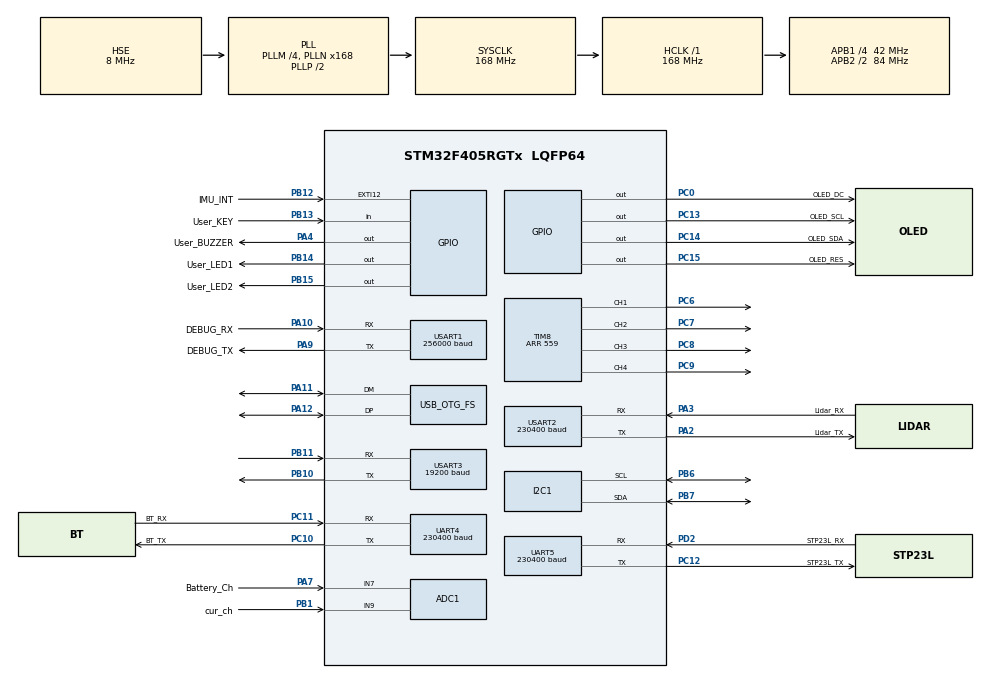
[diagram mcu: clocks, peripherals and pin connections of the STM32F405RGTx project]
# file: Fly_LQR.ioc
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ADC1.Channel-0\#ChannelRegularConversion=ADC_CHANNEL_7
ADC1.Channel-1\#ChannelRegularConversion=ADC_CHANNEL_9
ADC1.ClockPrescaler=ADC_CLOCK_SYNC_PCLK_DIV6
ADC1.ContinuousConvMode=ENABLE
ADC1.DMAContinuousRequests=ENABLE
ADC1.NbrOfConversion=2
ADC1.NbrOfConversionFlag=1
ADC1.Rank-0\#ChannelRegularConversion=1
ADC1.Rank-1\#ChannelRegularConversion=2
ADC1.SamplingTime-0\#ChannelRegularConversion=ADC_SAMPLETIME_480CYCLES
ADC1.SamplingTime-1\#ChannelRegularConversion=ADC_SAMPLETIME_480CYCLES
ADC1.ScanConvMode=ENABLE
ADC1.master=1
Dma.ADC1.5.Direction=DMA_PERIPH_TO_MEMORY
Dma.ADC1.5.FIFOMode=DMA_FIFOMODE_DISABLE
Dma.ADC1.5.Instance=DMA2_Stream0
Dma.ADC1.5.MemDataAlignment=DMA_MDATAALIGN_HALFWORD
Dma.ADC1.5.MemInc=DMA_MINC_ENABLE
Dma.ADC1.5.Mode=DMA_CIRCULAR
Dma.ADC1.5.PeriphDataAlignment=DMA_PDATAALIGN_HALFWORD
Dma.ADC1.5.PeriphInc=DMA_PINC_DISABLE
Dma.ADC1.5.Priority=DMA_PRIORITY_LOW
Dma.Request0=USART2_RX
Dma.Request1=TIM8_CH1
Dma.Request2=TIM8_CH2
Dma.Request3=TIM8_CH3
Dma.Request4=TIM8_CH4/TRIG/COM
Dma.Request5=ADC1
Dma.Request6=UART5_RX
Dma.Request7=UART4_TX
Dma.Request8=USART3_RX
Dma.TIM8_CH1.1.Direction=DMA_MEMORY_TO_PERIPH
Dma.TIM8_CH1.1.FIFOMode=DMA_FIFOMODE_DISABLE
Dma.TIM8_CH1.1.Instance=DMA2_Stream2
Dma.TIM8_CH1.1.MemDataAlignment=DMA_MDATAALIGN_HALFWORD
Dma.TIM8_CH1.1.MemInc=DMA_MINC_ENABLE
Dma.TIM8_CH1.1.Mode=DMA_NORMAL
Dma.TIM8_CH1.1.PeriphDataAlignment=DMA_PDATAALIGN_HALFWORD
Dma.TIM8_CH1.1.PeriphInc=DMA_PINC_DISABLE
Dma.TIM8_CH1.1.Priority=DMA_PRIORITY_LOW
Dma.TIM8_CH2.2.Direction=DMA_MEMORY_TO_PERIPH
Dma.TIM8_CH2.2.FIFOMode=DMA_FIFOMODE_DISABLE
Dma.TIM8_CH2.2.Instance=DMA2_Stream3
Dma.TIM8_CH2.2.MemDataAlignment=DMA_MDATAALIGN_HALFWORD
Dma.TIM8_CH2.2.MemInc=DMA_MINC_ENABLE
Dma.TIM8_CH2.2.Mode=DMA_NORMAL
Dma.TIM8_CH2.2.PeriphDataAlignment=DMA_PDATAALIGN_HALFWORD
Dma.TIM8_CH2.2.PeriphInc=DMA_PINC_DISABLE
Dma.TIM8_CH2.2.Priority=DMA_PRIORITY_LOW
Dma.TIM8_CH3.3.Direction=DMA_MEMORY_TO_PERIPH
Dma.TIM8_CH3.3.FIFOMode=DMA_FIFOMODE_DISABLE
Dma.TIM8_CH3.3.Instance=DMA2_Stream4
Dma.TIM8_CH3.3.MemDataAlignment=DMA_MDATAALIGN_HALFWORD
Dma.TIM8_CH3.3.MemInc=DMA_MINC_ENABLE
Dma.TIM8_CH3.3.Mode=DMA_NORMAL
Dma.TIM8_CH3.3.PeriphDataAlignment=DMA_PDATAALIGN_HALFWORD
Dma.TIM8_CH3.3.PeriphInc=DMA_PINC_DISABLE
Dma.TIM8_CH3.3.Priority=DMA_PRIORITY_LOW
Dma.TIM8_CH4/TRIG/COM.4.Direction=DMA_MEMORY_TO_PERIPH
Dma.TIM8_CH4/TRIG/COM.4.FIFOMode=DMA_FIFOMODE_DISABLE
Dma.TIM8_CH4/TRIG/COM.4.Instance=DMA2_Stream7
Dma.TIM8_CH4/TRIG/COM.4.MemDataAlignment=DMA_MDATAALIGN_HALFWORD
Dma.TIM8_CH4/TRIG/COM.4.MemInc=DMA_MINC_ENABLE
Dma.TIM8_CH4/TRIG/COM.4.Mode=DMA_NORMAL
Dma.TIM8_CH4/TRIG/COM.4.PeriphDataAlignment=DMA_PDATAALIGN_HALFWORD
Dma.TIM8_CH4/TRIG/COM.4.PeriphInc=DMA_PINC_DISABLE
Dma.TIM8_CH4/TRIG/COM.4.Priority=DMA_PRIORITY_LOW
Dma.UART4_TX.7.Direction=DMA_MEMORY_TO_PERIPH
Dma.UART4_TX.7.FIFOMode=DMA_FIFOMODE_DISABLE
Dma.UART4_TX.7.Instance=DMA1_Stream4
Dma.UART4_TX.7.MemDataAlignment=DMA_MDATAALIGN_BYTE
Dma.UART4_TX.7.MemInc=DMA_MINC_ENABLE
Dma.UART4_TX.7.Mode=DMA_NORMAL
Dma.UART4_TX.7.PeriphDataAlignment=DMA_PDATAALIGN_BYTE
Dma.UART4_TX.7.PeriphInc=DMA_PINC_DISABLE
Dma.UART4_TX.7.Priority=DMA_PRIORITY_LOW
Dma.UART5_RX.6.Direction=DMA_PERIPH_TO_MEMORY
Dma.UART5_RX.6.FIFOMode=DMA_FIFOMODE_DISABLE
Dma.UART5_RX.6.Instance=DMA1_Stream0
Dma.UART5_RX.6.MemDataAlignment=DMA_MDATAALIGN_BYTE
Dma.UART5_RX.6.MemInc=DMA_MINC_ENABLE
Dma.UART5_RX.6.Mode=DMA_NORMAL
Dma.UART5_RX.6.PeriphDataAlignment=DMA_PDATAALIGN_BYTE
Dma.UART5_RX.6.PeriphInc=DMA_PINC_DISABLE
Dma.UART5_RX.6.Priority=DMA_PRIORITY_LOW
Dma.USART2_RX.0.Direction=DMA_PERIPH_TO_MEMORY
Dma.USART2_RX.0.FIFOMode=DMA_FIFOMODE_DISABLE
Dma.USART2_RX.0.Instance=DMA1_Stream5
Dma.USART2_RX.0.MemDataAlignment=DMA_MDATAALIGN_BYTE
Dma.USART2_RX.0.MemInc=DMA_MINC_ENABLE
Dma.USART2_RX.0.Mode=DMA_NORMAL
Dma.USART2_RX.0.PeriphDataAlignment=DMA_PDATAALIGN_BYTE
Dma.USART2_RX.0.PeriphInc=DMA_PINC_DISABLE
Dma.USART2_RX.0.Priority=DMA_PRIORITY_HIGH
Dma.USART3_RX.8.Direction=DMA_PERIPH_TO_MEMORY
Dma.USART3_RX.8.FIFOMode=DMA_FIFOMODE_DISABLE
Dma.USART3_RX.8.Instance=DMA1_Stream1
Dma.USART3_RX.8.MemDataAlignment=DMA_MDATAALIGN_BYTE
Dma.USART3_RX.8.MemInc=DMA_MINC_ENABLE
Dma.USART3_RX.8.Mode=DMA_NORMAL
Dma.USART3_RX.8.PeriphDataAlignment=DMA_PDATAALIGN_BYTE
Dma.USART3_RX.8.PeriphInc=DMA_PINC_DISABLE
Dma.USART3_RX.8.Priority=DMA_PRIORITY_LOW
FREERTOS.Tasks01=defaultTask,24,128,StartDefaultTask,Default,NULL,Dynamic,NULL,NULL
FREERTOS.configCHECK_FOR_STACK_OVERFLOW=2
FREERTOS.configENABLE_FPU=1
FREERTOS.configGENERATE_RUN_TIME_STATS=1
FREERTOS.configLIBRARY_MAX_SYSCALL_INTERRUPT_PRIORITY=5
FREERTOS.configMINIMAL_STACK_SIZE=128
FREERTOS.configTIMER_TASK_PRIORITY=25
FREERTOS.configTIMER_TASK_STACK_DEPTH=256
FREERTOS.configTOTAL_HEAP_SIZE=25600
FREERTOS.configUSE_IDLE_HOOK=1
FREERTOS.configUSE_MALLOC_FAILED_HOOK=1
FREERTOS.configUSE_STATS_FORMATTING_FUNCTIONS=1
I2C1.I2C_Mode=I2C_Fast
Mcu.Family=STM32F4
Mcu.Name=STM32F405RGTx
Mcu.Package=LQFP64
NVIC.DMA1_Stream0_IRQn=true\:5\:0\:false\:false\:true\:true\:false\:true\:true
NVIC.DMA1_Stream1_IRQn=true\:5\:0\:false\:false\:true\:true\:false\:true\:true
NVIC.DMA1_Stream4_IRQn=true\:5\:0\:false\:false\:true\:true\:false\:true\:true
NVIC.DMA1_Stream5_IRQn=true\:5\:0\:false\:false\:true\:true\:false\:true\:true
NVIC.DMA2_Stream0_IRQn=true\:5\:0\:false\:false\:true\:true\:false\:true\:true
NVIC.DMA2_Stream2_IRQn=true\:5\:0\:false\:false\:true\:true\:false\:true\:true
NVIC.DMA2_Stream3_IRQn=true\:5\:0\:false\:false\:true\:true\:false\:true\:true
NVIC.DMA2_Stream4_IRQn=true\:5\:0\:false\:false\:true\:true\:false\:true\:true
NVIC.DMA2_Stream7_IRQn=true\:5\:0\:false\:false\:true\:true\:false\:true\:true
NVIC.EXTI15_10_IRQn=true\:5\:0\:true\:false\:true\:false\:true\:true\:true
NVIC.OTG_FS_IRQn=true\:5\:0\:false\:false\:true\:true\:true\:true\:true
NVIC.PriorityGroup=NVIC_PRIORITYGROUP_4
NVIC.TIM7_IRQn=true\:0\:0\:true\:false\:true\:false\:false\:true\:true
NVIC.TIM8_UP_TIM13_IRQn=true\:5\:0\:false\:false\:true\:true\:true\:true\:true
NVIC.TimeBase=TIM7_IRQn
NVIC.TimeBaseIP=TIM7
NVIC.UART4_IRQn=true\:5\:0\:false\:false\:true\:true\:true\:true\:true
NVIC.UART5_IRQn=true\:5\:0\:false\:false\:true\:true\:true\:true\:true
NVIC.USART1_IRQn=true\:5\:0\:true\:false\:true\:true\:false\:true\:true
NVIC.USART2_IRQn=true\:8\:0\:true\:false\:true\:true\:true\:true\:true
NVIC.USART3_IRQn=true\:5\:0\:false\:false\:true\:true\:true\:true\:true
PA10.GPIO_Label=DEBUG_RX
PA10.Mode=Asynchronous
PA10.Signal=USART1_RX
PA11.Mode=Host_Only
PA11.Signal=USB_OTG_FS_DM
PA12.Mode=Host_Only
PA12.Signal=USB_OTG_FS_DP
PA13.Mode=Serial_Wire
PA13.Signal=SYS_JTMS-SWDIO
PA14.Mode=Serial_Wire
PA14.Signal=SYS_JTCK-SWCLK
PA2.GPIO_Label=Lidar_TX
PA2.Mode=Asynchronous
PA2.Signal=USART2_TX
PA3.GPIO_Label=Lidar_RX
PA3.Mode=Asynchronous
PA3.Signal=USART2_RX
PA4.GPIO_Label=User_BUZZER
PA4.GPIO_PuPd=GPIO_PULLDOWN
PA4.Signal=GPIO_Output
PA7.GPIO_Label=Battery_Ch
PA7.Signal=ADCx_IN7
PA9.GPIO_Label=DEBUG_TX
PA9.Mode=Asynchronous
PA9.Signal=USART1_TX
PB1.GPIO_Label=cur_ch
PB1.Signal=ADCx_IN9
PB10.Mode=Asynchronous
PB10.Signal=USART3_TX
PB11.Mode=Asynchronous
PB11.Signal=USART3_RX
PB12.GPIO_Label=IMU_INT
PB12.GPIO_ModeDefaultEXTI=GPIO_MODE_IT_RISING
PB12.GPIO_PuPd=GPIO_PULLDOWN
PB12.Signal=GPXTI12
PB13.GPIO_Label=User_KEY
PB13.Signal=GPIO_Input
PB14.GPIO_Label=User_LED1
PB14.GPIO_ModeDefaultOutputPP=GPIO_MODE_OUTPUT_PP
PB14.GPIO_PuPd=GPIO_PULLUP
PB14.PinState=GPIO_PIN_SET
PB14.Signal=GPIO_Output
PB15.GPIO_Label=User_LED2
PB15.GPIO_PuPd=GPIO_PULLUP
PB15.PinState=GPIO_PIN_SET
PB15.Signal=GPIO_Output
PB6.Mode=I2C
PB6.Signal=I2C1_SCL
PB7.Mode=I2C
PB7.Signal=I2C1_SDA
PC0.GPIO_Label=OLED_DC
PC0.Signal=GPIO_Output
PC10.GPIO_Label=BT_TX
PC10.Mode=Asynchronous
PC10.Signal=UART4_TX
PC11.GPIO_Label=BT_RX
PC11.Mode=Asynchronous
PC11.Signal=UART4_RX
PC12.GPIO_Label=STP23L_TX
PC12.Mode=Asynchronous
PC12.Signal=UART5_TX
PC13-ANTI_TAMP.GPIO_Label=OLED_SCL
PC13-ANTI_TAMP.Signal=GPIO_Output
PC14-OSC32_IN.GPIO_Label=OLED_SDA
PC14-OSC32_IN.Signal=GPIO_Output
PC15-OSC32_OUT.GPIO_Label=OLED_RES
PC15-OSC32_OUT.Signal=GPIO_Output
PC6.GPIO_Speed=GPIO_SPEED_FREQ_VERY_HIGH
PC6.Signal=S_TIM8_CH1
PC7.GPIO_Speed=GPIO_SPEED_FREQ_VERY_HIGH
PC7.Signal=S_TIM8_CH2
PC8.GPIO_Speed=GPIO_SPEED_FREQ_VERY_HIGH
PC8.Signal=S_TIM8_CH3
PC9.GPIO_Speed=GPIO_SPEED_FREQ_VERY_HIGH
PC9.Signal=S_TIM8_CH4
PD2.GPIO_Label=STP23L_RX
PD2.Mode=Asynchronous
PD2.Signal=UART5_RX
PH0-OSC_IN.Mode=HSE-External-Oscillator
PH0-OSC_IN.Signal=RCC_OSC_IN
PH1-OSC_OUT.Mode=HSE-External-Oscillator
PH1-OSC_OUT.Signal=RCC_OSC_OUT
ProjectManager.HeapSize=0x200
ProjectManager.StackSize=0x400
ProjectManager.TargetToolchain=MDK-ARM V5.32
RCC.48MHZClocksFreq_Value=48000000
RCC.AHBFreq_Value=168000000
RCC.APB1CLKDivider=RCC_HCLK_DIV4
RCC.APB1Freq_Value=42000000
RCC.APB1TimFreq_Value=84000000
RCC.APB2CLKDivider=RCC_HCLK_DIV2
RCC.APB2Freq_Value=84000000
RCC.APB2TimFreq_Value=168000000
RCC.CortexFreq_Value=168000000
RCC.HCLKFreq_Value=168000000
RCC.HSE_VALUE=8000000
RCC.HSI_VALUE=16000000
RCC.LSE_VALUE=32768
RCC.PLLM=4
RCC.PLLN=168
RCC.PLLQ=7
RCC.SYSCLKFreq_VALUE=168000000
RCC.SYSCLKSource=RCC_SYSCLKSOURCE_PLLCLK
RCC.VCOOutputFreq_Value=336000000
SH.ADCx_IN7.0=ADC1_IN7,IN7
SH.ADCx_IN9.0=ADC1_IN9,IN9
SH.S_TIM8_CH1.0=TIM8_CH1,PWM Generation1 CH1
SH.S_TIM8_CH2.0=TIM8_CH2,PWM Generation2 CH2
SH.S_TIM8_CH3.0=TIM8_CH3,PWM Generation3 CH3
SH.S_TIM8_CH4.0=TIM8_CH4,PWM Generation4 CH4
TIM6.Period=0xffff
TIM6.Prescaler=839
TIM8.Channel-PWM\ Generation1\ CH1=TIM_CHANNEL_1
TIM8.Channel-PWM\ Generation2\ CH2=TIM_CHANNEL_2
TIM8.Channel-PWM\ Generation3\ CH3=TIM_CHANNEL_3
TIM8.Channel-PWM\ Generation4\ CH4=TIM_CHANNEL_4
TIM8.Period=559
UART4.BaudRate=230400
UART4.VirtualMode=Asynchronous
UART5.BaudRate=230400
UART5.VirtualMode=Asynchronous
USART1.BaudRate=256000
USART1.VirtualMode=VM_ASYNC
USART2.BaudRate=230400
USART2.VirtualMode=VM_ASYNC
USART3.BaudRate=19200
USART3.VirtualMode=VM_ASYNC
USB_HOST.SW_VBUS_DRIVE_HID_FS=true
USB_HOST.USBH_HandleTypeDef-HID_FS=hUsbHostFS
USB_HOST.USBH_MAX_DATA_BUFFER-HID_FS=1024
USB_HOST.USBH_MAX_NUM_SUPPORTED_CLASS-HID_FS=2
USB_HOST.USBH_PROCESS_STACK_SIZE-HID_FS=1024
USB_HOST.VirtualModeFS=Hid
USB_OTG_FS.VirtualMode=Host_Only
USB_OTG_FS.phy_itface=HCD_PHY_EMBEDDED
VP_FREERTOS_VS_CMSIS_V2.Mode=CMSIS_V2
VP_SYS_VS_tim7.Mode=TIM7
VP_TIM6_VS_ClockSourceINT.Mode=Enable_Timer
VP_TIM8_VS_ClockSourceINT.Mode=Internal
VP_USB_HOST_VS_USB_HOST_HID_FS.Mode=HID_FS
board=custom

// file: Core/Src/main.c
/* USER CODE BEGIN Header */
/**
  ******************************************************************************
  * @file           : main.c
  * @brief          : Main program body
  ******************************************************************************
  * @attention
  *
  * Copyright (c) 2024 STMicroelectronics.
  * All rights reserved.
  *
  * This software is licensed under terms that can be found in the LICENSE file
  * in the root directory of this software component.
  * If no LICENSE file comes with this software, it is provided AS-IS.
  *
  ******************************************************************************
  */
/* USER CODE END Header */
#include "main.h"
#include "cmsis_os.h"
#include "adc.h"
#include "dma.h"
#include "i2c.h"
#include "tim.h"
#include "usart.h"
#include "usb_host.h"
#include "gpio.h"

/* USER CODE BEGIN Includes */
/* C 标准库 ------------------------------------------------------------------*/
#include <stdio.h>              /* 标准输入输出，提供 printf/scanf 重定向支持 */

/* FreeRTOS ------------------------------------------------------------------*/
#include "FreeRTOS.h"           /* FreeRTOS 内核接口 */
#include "semphr.h"             /* 信号量/互斥锁接口 */

/* HAL 库 --------------------------------------------------------------------*/
/* （HAL 外设头文件已在 main.h 中通过 stm32f4xx_hal.h 统一引入） */

/* BSP 板级支持包 -------------------------------------------------------------*/
#include "bsp_led.h"            /* LED 指示灯驱动 */
#include "bsp_oled.h"           /* OLED 显示屏驱动 */
#include "bsp_adc.h"            /* ADC 采样驱动（电池电压/电流检测） */
#include "bsp_imu.h"            /* IMU 惯性测量单元驱动（ICM20948） */
#include "bsp_LC307.h"          /* LC307 激光测距模块驱动 */
/* USER CODE END Includes */

/* USER CODE BEGIN PV */
/* 串口中断接收缓存 -----------------------------------------------------------*/
uint8_t uart1_recv;             /* USART1 单字节中断接收缓存（蓝牙模块） */
uint8_t uart4_recv;             /* UART4  单字节中断接收缓存（调试串口） */

/* 用户校准参数 ---------------------------------------------------------------*/
float g_userparam_pitchzero = 0; /* 用户设定的俯仰角零点偏移（从 Flash 读取） */
float g_userparam_rollzero  = 0; /* 用户设定的横滚角零点偏移（从 Flash 读取） */

/* 调试数据显示结构体 ---------------------------------------------------------*/
DebugShowVal_t g_debugVal = { 0 }; /* 调试用全局变量，可通过串口/OLED 查看各传感器数据 */
/* USER CODE END PV */

void SystemClock_Config(void);
void MX_FREERTOS_Init(void);

int main(void)
{

  /* MCU Configuration--------------------------------------------------------*/

  /* Reset of all peripherals, Initializes the Flash interface and the Systick. */
  HAL_Init();

  /* Configure the system clock */
  SystemClock_Config();

  /* Initialize all configured peripherals */
  MX_GPIO_Init();
  MX_DMA_Init();
  MX_USART1_UART_Init();
  MX_USART2_UART_Init();
  MX_TIM6_Init();
  MX_TIM8_Init();
  MX_I2C1_Init();
  MX_ADC1_Init();
  MX_UART5_Init();
  MX_UART4_Init();
  MX_USART3_UART_Init();
  /* USER CODE BEGIN 2 */

	/* OLED 显示屏初始化 ----------------------------------------------------*/
	/* 使用 I2C1 接口驱动 OLED 显示模块 */
	pOLEDInterface_t oled = &UserOLED;
	oled->init();

	/* 启动串口中断接收 ------------------------------------------------------*/
	/* UART4: 调试串口（printf 重定向），UART1: 蓝牙模块，均使能单字节中断接收 */
	HAL_UART_Receive_IT(&huart4, &uart4_recv, 1);
	HAL_UART_Receive_IT(&huart1, &uart1_recv, 1);

	/* 启动用户基础定时器 ----------------------------------------------------*/
	/* TIM6 用作系统时基或周期任务调度时钟源 */
	HAL_TIM_Base_Start(&htim6);

	/* ADC 初始化 ------------------------------------------------------------*/
	/* ADC1 用于采集电池电压 (Battery_Ch) 和电流检测通道 (cur_ch) */
	pADCInterface_t adc1 = &UserADC1;
	adc1->init();

	/* 硬件 I2C 总线忙异常恢复处理 -------------------------------------------*/
	/* 上电或异常复位后，I2C 从设备可能将 SDA 拉低导致 BUSY 标志置位 */
	/* 此处检测并强制释放 I2C 总线，然后重新初始化外设 */
	if ((I2C1->SR2 >> 1) & 0x01)       /* 检查 I2C1 SR2 寄存器的 BUSY 标志位 */
	{
		HAL_I2C_MspDeInit(&hi2c1);      /* 反初始化 I2C MSP（释放引脚复用回 GPIO） */

		/* 将 I2C 引脚 (PB6=SCL, PB7=SDA) 配置为 GPIO 推挽输出，模拟时钟释放总线 */
		GPIO_InitTypeDef GPIO_InitStruct = {0};
		GPIO_InitStruct.Pin   = GPIO_PIN_6 | GPIO_PIN_7;
		GPIO_InitStruct.Mode  = GPIO_MODE_OUTPUT_PP;
		GPIO_InitStruct.Pull  = GPIO_PULLUP;
		GPIO_InitStruct.Speed = GPIO_SPEED_FREQ_LOW;
		HAL_GPIO_Init(GPIOB, &GPIO_InitStruct);
		HAL_GPIO_WritePin(GPIOB, GPIO_PIN_6, GPIO_PIN_SET); /* SCL 拉高 */
		HAL_GPIO_WritePin(GPIOB, GPIO_PIN_7, GPIO_PIN_SET); /* SDA 拉高 */

		/* 重新初始化 I2C1 外设，清除 BUSY 状态 */
		I2C1->CR1 &= ~(1 << 0);         /* PE=0: 关闭 I2C 使能 */
		HAL_Delay(50);                  /* 等待总线稳定 */
		I2C1->CR1 |= (1 << 0);          /* PE=1: 重新使能 I2C */
		I2C1->CR1 |= (1 << 15);         /* SWRST=1: 软件复位 I2C */
		HAL_Delay(50);
		I2C1->CR1 &= ~(1 << 15);        /* 清除复位位 */
		MX_I2C1_Init();                 /* 重新调用 CubeMX 生成的 I2C 初始化函数 */
	}

	/* ICM20948 IMU 初始化与状态指示 -----------------------------------------*/
	/* 使用 User_LED1 指示 IMU 初始化状态：闪烁=正在初始化，常亮=初始化成功 */
	pLedInterface_t  imu_initled = &UserLed1;
	pIMUInterface_t  imu         = &UserICM20948;

	imu_initled->off();
	while (imu->Init())                   /* 循环初始化 IMU 直到成功 */
	{
		imu_initled->toggle();            /* LED 闪烁表示初始化过程持续中 */
		HAL_Delay(60);
		NVIC_SystemReset();               /* 初始化超时则执行系统复位重试 */
	}
	imu_initled->on();                    /* LED 常亮指示 IMU 初始化成功完成 */

	/* 激光测距模块初始化 ----------------------------------------------------*/
	/* LC307 / STP23L 激光测距模块，用于对地高度测量 */
	Opf_LC307_Init();

	/* 从 Flash 读取用户校准参数 ---------------------------------------------*/
	/* 读取存储的俯仰角和横滚角零点偏移值（出厂校准或用户设定值） */
	extern void User_Flash_ReadParam(uint32_t* p, uint16_t datalen);
	int32_t tmp[2] = { 0 };
	User_Flash_ReadParam((uint32_t*)tmp, 2);
	if (tmp[0] != 0xffffffff)             /* 0xFFFFFFFF 表示 Flash 该地址未被写入过（擦除态） */
		g_userparam_pitchzero = *((float*)&tmp[0]);
	if (tmp[1] != 0xffffffff)
		g_userparam_rollzero  = *((float*)&tmp[1]);

  /* USER CODE END 2 */

  /* Init scheduler */
  osKernelInitialize();

  /* Call init function for freertos objects (in cmsis_os2.c) */
  MX_FREERTOS_Init();

  /* Start scheduler */
  osKernelStart();

  /* We should never get here as control is now taken by the scheduler */

  /* Infinite loop */
  while (1)
  {

    /* USER CODE BEGIN 3 */
    /* FreeRTOS 任务调度运行中，此循环体由 osKernelStart() 内部的调度器控制 */
    /* 用户任务代码在各 APP 任务文件中实现（balance_task, lidar_task 等） */
  }
  /* USER CODE END 3 */
}

void SystemClock_Config(void)
{
  RCC_OscInitTypeDef RCC_OscInitStruct = {0};
  RCC_ClkInitTypeDef RCC_ClkInitStruct = {0};

  /** Configure the main internal regulator output voltage
  */
  __HAL_RCC_PWR_CLK_ENABLE();
  __HAL_PWR_VOLTAGESCALING_CONFIG(PWR_REGULATOR_VOLTAGE_SCALE1);

  /** Initializes the RCC Oscillators according to the specified parameters
  * in the RCC_OscInitTypeDef structure.
  */
  RCC_OscInitStruct.OscillatorType = RCC_OSCILLATORTYPE_HSE;
  RCC_OscInitStruct.HSEState = RCC_HSE_ON;
  RCC_OscInitStruct.PLL.PLLState = RCC_PLL_ON;
  RCC_OscInitStruct.PLL.PLLSource = RCC_PLLSOURCE_HSE;
  RCC_OscInitStruct.PLL.PLLM = 4;
  RCC_OscInitStruct.PLL.PLLN = 168;
  RCC_OscInitStruct.PLL.PLLP = RCC_PLLP_DIV2;
  RCC_OscInitStruct.PLL.PLLQ = 7;
  if (HAL_RCC_OscConfig(&RCC_OscInitStruct) != HAL_OK)
  {
    Error_Handler();
  }

  /** Initializes the CPU, AHB and APB buses clocks
  */
  RCC_ClkInitStruct.ClockType = RCC_CLOCKTYPE_HCLK|RCC_CLOCKTYPE_SYSCLK
                              |RCC_CLOCKTYPE_PCLK1|RCC_CLOCKTYPE_PCLK2;
  RCC_ClkInitStruct.SYSCLKSource = RCC_SYSCLKSOURCE_PLLCLK;
  RCC_ClkInitStruct.AHBCLKDivider = RCC_SYSCLK_DIV1;
  RCC_ClkInitStruct.APB1CLKDivider = RCC_HCLK_DIV4;
  RCC_ClkInitStruct.APB2CLKDivider = RCC_HCLK_DIV2;

  if (HAL_RCC_ClockConfig(&RCC_ClkInitStruct, FLASH_LATENCY_5) != HAL_OK)
  {
    Error_Handler();
  }
}

/* USER CODE BEGIN 4 */

/* 调试串口句柄 ---------------------------------------------------------------*/
/* 将 huart4 重命名为 DebugSerial，用于 printf/scanf 重定向 */
UART_HandleTypeDef *DebugSerial = &huart4;

/**
  * @brief  printf 重定向底层函数：将字符通过串口发送
  * @param  ch:     要发送的字符
  * @param  stream: 文件流指针（未使用）
  * @retval 发送的字符
  * @note   重写 C 库的 fputc 实现 printf 串口输出
  */
int fputc(int ch, FILE* stream)
{
	while (HAL_OK != HAL_UART_Transmit(DebugSerial, (const uint8_t *)&ch, 1, 100));
	return ch;
}

/* scanf 重定向所需的互斥锁和状态变量 -----------------------------------------*/
static xSemaphoreHandle debug_1_HandleMutex;  /* 保护 scanf 回退缓冲区的互斥锁 */
static char g_last_char;                       /* 上次接收的字符（用于 backspace 回退） */
static char g_backspace;                       /* backspace 回退标志（非零表示下次读取返回缓存字符） */

/**
  * @brief  scanf 重定向底层函数：从串口接收字符
  * @param  f: 文件流指针（未使用）
  * @retval 接收到的字符
  * @note   重写 C 库的 fgetc 实现 scanf 串口输入，支持 backspace 功能
  */
int fgetc(FILE* f)
{
	/* 首次调用时创建互斥锁（延迟初始化） */
	static uint8_t init = 0;
	if (init == 0)
	{
		init = 1;
		debug_1_HandleMutex = xSemaphoreCreateMutex();
	}

	int ch;
	if (g_backspace)
	{
		/* 处理 backspace：返回上次缓存的字符而不是从串口读取 */
		xSemaphoreTake(debug_1_HandleMutex, portMAX_DELAY);
		g_backspace = 0;
		xSemaphoreGive(debug_1_HandleMutex);

		return g_last_char;
	}

	/* 阻塞等待串口接收一个字符 */
	while (HAL_OK != HAL_UART_Receive(DebugSerial, (uint8_t *)&ch, 1, HAL_MAX_DELAY));
	g_last_char = ch;
	return ch;
}

/**
  * @brief  scanf backspace 支持函数：将上次读取的字符回退到输入流
  * @param  stream: 文件流指针（未使用）
  * @retval 0
  * @note   配合 fgetc 实现 scanf 的退格编辑功能
  */
int __backspace(FILE *stream)
{
	xSemaphoreTake(debug_1_HandleMutex, portMAX_DELAY);
	g_backspace = 1;
	xSemaphoreGive(debug_1_HandleMutex);
	return 0;
}

/**
  * @brief  TIM8 定时器更新中断回调函数（弱定义）
  * @note   用户可重写此函数实现 TIM8 周期中断自定义处理
  *         当前由 HAL_TIM_PeriodElapsedCallback 中调用
  */
__weak void User_TIM8_UpdateCallback(void)
{
	/* 用户在此添加 TIM8 中断处理代码 */
}

/* USER CODE END 4 */

void HAL_TIM_PeriodElapsedCallback(TIM_HandleTypeDef *htim)
{
  if (htim->Instance == TIM7) {
    HAL_IncTick();
  }
  /* USER CODE BEGIN Callback 1 */
	else if (TIM8 == htim->Instance)
	{
		/* TIM8 周期中断：调用用户自定义回调 */
		User_TIM8_UpdateCallback();
	}

  /* USER CODE END Callback 1 */
}

void Error_Handler(void)
{
  __disable_irq();
  while (1)
  {
  }
}

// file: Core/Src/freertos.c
/* USER CODE BEGIN Header */
/**
  ******************************************************************************
  * File Name          : freertos.c
  * Description        : Code for freertos applications
  ******************************************************************************
  * @attention
  *
  * Copyright (c) 2024 STMicroelectronics.
  * All rights reserved.
  *
  * This software is licensed under terms that can be found in the LICENSE file
  * in the root directory of this software component.
  * If no LICENSE file comes with this software, it is provided AS-IS.
  *
  ******************************************************************************
  */
/* USER CODE END Header */

#include "FreeRTOS.h"
#include "task.h"
#include "main.h"
#include "cmsis_os.h"

/* USER CODE BEGIN Includes */

//C Lib
#include <stdio.h>

#include "queue.h"
#include "semphr.h"
#include "event_groups.h"

//HAL
#include "usart.h"

//BSP
#include "bsp_stp23L.h"
//#include "bsp_N10.h"
#include "bsp_stl06n.h"

//APP
#include "balance_task.h"

/* USER CODE END Includes */

/* USER CODE BEGIN PD */
#define userconfig_OPEN_STACK_CHECK 0     //开启任务栈大小检查打印
#define userconfig_OPEN_CPU_USAGE_CHECK 0 //开启检查CPU占比打印
#define userconfig_OPEN_CHECK_HEAPSIZE 0  //检查剩余的堆大小
/* USER CODE END PD */

/* USER CODE BEGIN Variables */
xSemaphoreHandle HandleMutex_printf;

//任务句柄
TaskHandle_t sensorhandleTask_Handle;
TaskHandle_t balanceTask_Handle;
TaskHandle_t g_xTaskHandleCoordTask;

//队列、队列集
QueueHandle_t g_xQueuestp23L_Ori;     //外围设备：stp23L激光测距 原始数据的队列
QueueHandle_t g_xQueueN10_Ori;        //外围设备：N10雷达        原始数据的队列
QueueHandle_t g_xQueuestl06n_Ori;

QueueSetHandle_t g_xQueueSetSensor;   //创建队列集，存放各个传感器队列的句柄
QueueHandle_t g_xQueueFlyControl;     //四轴飞行器控制队列
QueueHandle_t g_xQueueBlueTooth_Ori;  //蓝牙APP原始数据
QueueHandle_t g_xQueueLidarBuffer;    //雷达数据

//事件组
EventGroupHandle_t g_xEventFlyAction; //四轴动作事件组

/* USER CODE END Variables */
/* Definitions for defaultTask */
osThreadId_t defaultTaskHandle;
const osThreadAttr_t defaultTask_attributes = {
  .name = "defaultTask",
  .stack_size = 128 * 4,
  .priority = (osPriority_t) osPriorityNormal,
};

/* USER CODE BEGIN FunctionPrototypes */

//RTOS系统检测任务
#if ( 1 == userconfig_OPEN_CPU_USAGE_CHECK ) || ( 1 == userconfig_OPEN_STACK_CHECK ) || ( 1 == userconfig_OPEN_CHECK_HEAPSIZE )
void CpuUsageCheckTask(void *param);
#endif

//显示任务
__weak void ShowTask(void* param)
{
	for(;;) vTaskDelay(1);
}

//外围传感器数据处理任务
__weak void SensorHandleTask(void* param)
{
	for(;;) vTaskDelay(1);
}

//平衡主控制任务
__weak void balance_task(void* param)
{
	for(;;) vTaskDelay(1);
}

//蓝牙APP控制任务
__weak void BluetoothAPPControl_task(void* param)
{
	for(;;) vTaskDelay(1);
}

__weak void CoordinateHandleTask(void* param)
{
	for(;;) vTaskDelay(1);
}

/* USER CODE END FunctionPrototypes */

void StartDefaultTask(void *argument);

extern void MX_USB_HOST_Init(void);
void MX_FREERTOS_Init(void); /* (MISRA C 2004 rule 8.1) */

/* Hook prototypes */
void configureTimerForRunTimeStats(void);
unsigned long getRunTimeCounterValue(void);
void vApplicationIdleHook(void);
void vApplicationStackOverflowHook(xTaskHandle xTask, signed char *pcTaskName);
void vApplicationMallocFailedHook(void);

/* USER CODE BEGIN 1 */
/* Functions needed when configGENERATE_RUN_TIME_STATS is on */
__weak void configureTimerForRunTimeStats(void)
{
	//使用cpu占比计时器前初始化内容
	TIM6->CNT = 0;
}

__weak unsigned long getRunTimeCounterValue(void)
{
	static unsigned long time = 0 ;
	static uint16_t lasttime = 0;
	static uint16_t nowtime = 0;

	nowtime = TIM6->CNT; //获得当前计数值

	//如果本次计数值小于上次计数值，说明发生了定时器计数溢出
	if( nowtime < lasttime )
	{
		time += (nowtime + 0xffff - lasttime); //溢出后的时间增量
	}
	else time += ( nowtime - lasttime ) ; //未发生溢出，增量为本次时间-上次时间

	lasttime = nowtime;

	return time;
}

/* USER CODE END 1 */

/* USER CODE BEGIN 2 */
void vApplicationIdleHook( void )
{
   /* vApplicationIdleHook() will only be called if configUSE_IDLE_HOOK is set
   to 1 in FreeRTOSConfig.h. It will be called on each iteration of the idle
   task. It is essential that code added to this hook function never attempts
   to block in any way (for example, call xQueueReceive() with a block time
   specified, or call vTaskDelay()). If the application makes use of the
   vTaskDelete() API function (as this demo application does) then it is also
   important that vApplicationIdleHook() is permitted to return to its calling
   function, because it is the responsibility of the idle task to clean up
   memory allocated by the kernel to any task that has since been deleted. */
}
/* USER CODE END 2 */

/* USER CODE BEGIN 4 */
void vApplicationStackOverflowHook(xTaskHandle xTask, signed char *pcTaskName)
{
   /* Run time stack overflow checking is performed if
   configCHECK_FOR_STACK_OVERFLOW is defined to 1 or 2. This hook function is
   called if a stack overflow is detected. */
	printf("%s stack overflow\r\n",pcTaskName);
}
/* USER CODE END 4 */

/* USER CODE BEGIN 5 */
void vApplicationMallocFailedHook(void)
{
   /* vApplicationMallocFailedHook() will only be called if
   configUSE_MALLOC_FAILED_HOOK is set to 1 in FreeRTOSConfig.h. It is a hook
   function that will get called if a call to pvPortMalloc() fails.
   pvPortMalloc() is called internally by the kernel whenever a task, queue,
   timer or semaphore is created. It is also called by various parts of the
   demo application. If heap_1.c or heap_2.c are used, then the size of the
   heap available to pvPortMalloc() is defined by configTOTAL_HEAP_SIZE in
   FreeRTOSConfig.h, and the xPortGetFreeHeapSize() API function can be used
   to query the size of free heap space that remains (although it does not
   provide information on how the remaining heap might be fragmented). */
	printf("malloc failed.check heapsize\r\n");
}
/* USER CODE END 5 */

void MX_FREERTOS_Init(void) {

  /* USER CODE BEGIN RTOS_MUTEX */
  /* add mutexes, ... */
	HandleMutex_printf = xSemaphoreCreateMutex();

  /* USER CODE END RTOS_MUTEX */

  /* USER CODE BEGIN RTOS_QUEUES */
  /* add queues, ... */
	/* 队列创建 */
	g_xQueuestp23L_Ori = xQueueCreate(5,sizeof(OriData_STP23L_t));
	g_xQueuestl06n_Ori    = xQueueCreate(10,sizeof(OriData_STL06N_t));
	g_xQueueFlyControl = xQueueCreate(1,sizeof(FlyControlType_t));
	g_xQueueBlueTooth_Ori = xQueueCreate(50,sizeof(char));
	g_xQueueLidarBuffer = xQueueCreate(5,sizeof(Stl06NAngleBuffer_t));

	/* 队列集创建,加入队列集 */
	g_xQueueSetSensor = xQueueCreateSet( 5 + 10 );
	xQueueAddToSet(g_xQueuestp23L_Ori,g_xQueueSetSensor);
	xQueueAddToSet(g_xQueuestl06n_Ori,g_xQueueSetSensor);
  /* USER CODE END RTOS_QUEUES */

  /* Create the thread(s) */
  /* creation of defaultTask */
  defaultTaskHandle = osThreadNew(StartDefaultTask, NULL, &defaultTask_attributes);

  /* USER CODE BEGIN RTOS_THREADS */
  /* add threads, ... */
   xTaskCreate(ShowTask,"ShowTask",128*2,NULL,osPriorityNormal,NULL);
   xTaskCreate(SensorHandleTask,"SensorTask",128*3,NULL,osPriorityNormal,&sensorhandleTask_Handle);
   xTaskCreate(balance_task,"BalanceTask",128*4,NULL,osPriorityNormal,&balanceTask_Handle);
   xTaskCreate(BluetoothAPPControl_task,"BTAPPTask",128*2,NULL,osPriorityNormal,NULL);
   xTaskCreate(CoordinateHandleTask,"coordTask",128*16,NULL,osPriorityNormal,&g_xTaskHandleCoordTask);

	//调试任务
	#if ( 1 == userconfig_OPEN_CPU_USAGE_CHECK ) || ( 1 == userconfig_OPEN_STACK_CHECK ) || ( 1 == userconfig_OPEN_CHECK_HEAPSIZE )
	 static uint16_t delaytime = 5000;//打印时间间隔，单位tick
	 xTaskCreate(CpuUsageCheckTask,"DebugTask",128, &delaytime ,osPriorityAboveNormal,NULL);
	#endif
  /* USER CODE END RTOS_THREADS */

  /* USER CODE BEGIN RTOS_EVENTS */
  /* add events, ... */
	g_xEventFlyAction = xEventGroupCreate();//创建四轴动作事件组的实例

  /* USER CODE END RTOS_EVENTS */

}

void StartDefaultTask(void *argument)
{
  /* init code for USB_HOST */
  MX_USB_HOST_Init();
  /* USER CODE BEGIN StartDefaultTask */
  /* Infinite loop */
  for(;;)
  {
	  /* 等待所有任务开始运行后，再使能各个传感器的中断，以便每个数据都能成功与任务联系上 */
	  vTaskDelay(400);

	  /* 启动外围传感器的DMA搬运 */
	  extern OriData_STP23L_t DMABuf_oridata_stp23L;
	  HAL_UARTEx_ReceiveToIdle_DMA(&huart5,DMABuf_oridata_stp23L.Buf,userconfig_STP23L_DMABUF_LEN);

	  //启动雷达数据搬运
	  extern OriData_STL06N_t DMAbuf_ori_stl06n;
	  HAL_UARTEx_ReceiveToIdle_DMA(&huart2,DMAbuf_ori_stl06n.Buf,userconfig_STL06N_DMABUF_LEN);

	  vTaskDelete(NULL);//自杀
  }
  /* USER CODE END StartDefaultTask */
}

/* USER CODE BEGIN Application */

#if ( 1 == userconfig_OPEN_CPU_USAGE_CHECK ) || ( 1 == userconfig_OPEN_STACK_CHECK ) || ( 1 == userconfig_OPEN_CHECK_HEAPSIZE )
void CpuUsageCheckTask(void *param)
{
	uint16_t* delaytime = (uint16_t*)param;
	static char showbuf[500];

	while( 1 )
	{
#if 1 == userconfig_OPEN_CPU_USAGE_CHECK
		//打印CPU占比
		vTaskGetRunTimeStats(showbuf);
		xSemaphoreTake(HandleMutex_printf,portMAX_DELAY);
		printf("TaskName\tUseTime\tCPU\r\n");
		printf("%s\r\n",showbuf);
		xSemaphoreGive(HandleMutex_printf);
		vTaskDelay(*delaytime);
#endif

#if 1 == userconfig_OPEN_STACK_CHECK
		//打印剩余任务栈大小,单位word
		vTaskList(showbuf);
		xSemaphoreTake(HandleMutex_printf,portMAX_DELAY);
		printf("TaskName\tTaskState\tTaskPrio\tStackSize\tTaskNum\r\n");
		printf("%s\r\n",showbuf);
		xSemaphoreGive(HandleMutex_printf);
		vTaskDelay(*delaytime);
#endif

#if 1 == userconfig_OPEN_CHECK_HEAPSIZE
		//打印剩余的堆区大小,单位bytes
		xSemaphoreTake(HandleMutex_printf,portMAX_DELAY);
		printf("free heap size : %d bytes\r\n\r\n",xPortGetFreeHeapSize());
		xSemaphoreGive(HandleMutex_printf);
		vTaskDelay(*delaytime);
#endif
	}
}
#endif

/* USER CODE END Application */
